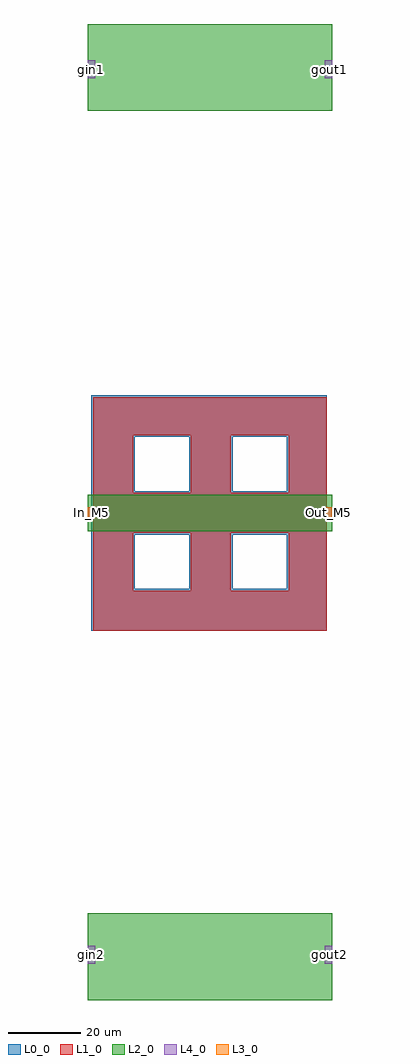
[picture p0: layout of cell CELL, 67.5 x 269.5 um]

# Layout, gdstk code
import gdstk
lib = gdstk.Library(unit=1e-6, precision=1e-09)
def R(c, l, rs):  # rectangles x0, y0, x1, y1
    for r in rs: c.add(gdstk.rectangle(r[:2], r[2:], *l))
def P(c, l, *ps):  # polygons
    for p in ps: c.add(gdstk.Polygon(p, *l))
L0_0 = (0, 0)
L1_0 = (1, 0)
L2_0 = (2, 0)
L3_0 = (3, 0)
L4_0 = (4, 0)

cell = lib.new_cell('CELL')
P(cell, L0_0, [(5,5.5),(-33,5.5),(-33,-32.5),(-21,-32.5),(-21,-6),(-6,-6),(-6,-21),(-21,-21),(-21,-32.5),(5,-32.5)],
  [(32,5.5),(-6,5.5),(-6,-32.5),(6,-32.5),(6,-6),(21,-6),(21,-21),(6,-21),(6,-32.5),(32,-32.5)],
  [(5,32.5),(-33,32.5),(-33,-5.5),(-21,-5.5),(-21,21),(-6,21),(-6,6),(-21,6),(-21,-5.5),(5,-5.5)],
  [(32,32.5),(-6,32.5),(-6,-5.5),(6,-5.5),(6,21),(21,21),(21,6),(6,6),(6,-5.5),(32,-5.5)])
R(cell, L1_0, [(-21.5,-32.5,5,-21.5), (5.5,-32.5,32,-21.5), (-21.5,-5.5,5,5.5), (5.5,-5.5,32,5.5)])
P(cell, L1_0, [(5,5),(-32.5,5),(-32.5,-32.5),(-21.5,-32.5),(-21.5,-5.5),(-5.5,-5.5),(-5.5,-21.5),(5,-21.5)],
  [(32,5),(-5.5,5),(-5.5,-32.5),(5.5,-32.5),(5.5,-5.5),(21.5,-5.5),(21.5,-21.5),(32,-21.5)],
  [(5,32),(-32.5,32),(-32.5,-5.5),(-21.5,-5.5),(-21.5,21.5),(-5.5,21.5),(-5.5,5.5),(5,5.5)],
  [(32,32),(-5.5,32),(-5.5,-5.5),(5.5,-5.5),(5.5,21.5),(21.5,21.5),(21.5,5.5),(32,5.5)])
R(cell, L2_0, [(-34,-134.5,33.5,-110.5), (-34,-5,33.5,5), (-34,111,33.5,135)])
R(cell, L3_0, [(-34,-1.5,-32,1.5), (31.5,-1.5,33.5,1.5)])
R(cell, L4_0, [(-34,-124.5,-32,-119.5), (31.5,-124.5,33.5,-119.5), (31.5,-1.5,33.5,1.5), (-34,-1,-31.5,1.5), (-34,120,-32,125), (31.5,120,33.5,125)])
cell.add(gdstk.Label('In_M5', (-33,0), layer=3, texttype=0))
cell.add(gdstk.Label('Out_M5', (32.5,0), layer=3, texttype=0))
cell.add(gdstk.Label('gin2', (-33,-122), layer=4, texttype=0))
cell.add(gdstk.Label('In_M6', (-33,0.5), layer=4, texttype=0))
cell.add(gdstk.Label('gin1', (-33,122.5), layer=4, texttype=0))
cell.add(gdstk.Label('gout2', (32.7,-122), layer=4, texttype=0))
cell.add(gdstk.Label('gout1', (32.8,122.5), layer=4, texttype=0))
cell.add(gdstk.Label('Out_M6', (33,0), layer=4, texttype=0))

lib.write_gds('CELL.gds')
